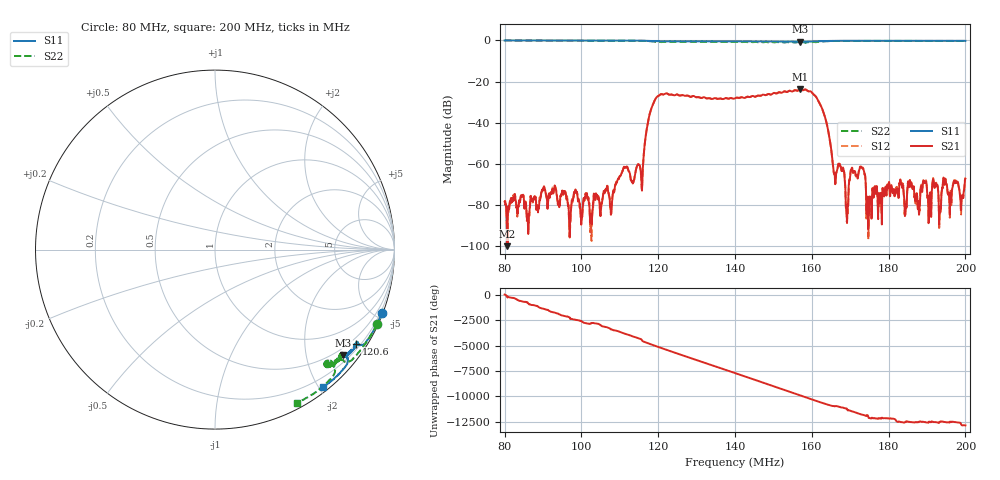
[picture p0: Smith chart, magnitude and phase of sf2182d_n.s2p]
!SF2182D
# HZ S RI R 50
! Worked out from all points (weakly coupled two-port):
!   1601 points, 80 MHz to 200 MHz, reference 50 ohm
!   highest |S21| = -23.80 dB at 157 MHz (marker M1); lowest = -99.9 dB at 80.75 MHz (marker M2)
!   lowest |S11| = -0.7 dB at 156.9 MHz (marker M3), VSWR 25.77, Z = 16.9 - j138 ohm
!   |S11| at or under -10 dB: nowhere
!   |S22| runs from -1.2 to 0.0 dB; largest |S21 - S12| = 0.0014
!   S11 on the Smith chart (normalised r, x): 80 MHz: 0.09, -5.42; 120.6 MHz: 0.33, -3.28; 200 MHz: 0.07, -2.05
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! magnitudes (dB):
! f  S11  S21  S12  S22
! 80 MHz  -0.1  -78.3  -78.4  -0.1
! 80.75 MHz  -0.1  -99.9  -99.5  0.0
! 92.9 MHz  -0.1  -71.9  -71.5  -0.1
! 100 MHz  -0.1  -88.3  -87.0  -0.1
! 115.5 MHz  -0.1  -65.7  -66.1  -0.2
! 117.7 MHz  -0.3  -36.8  -36.8  -0.4
! 120 MHz  -0.4  -27.0  -27.0  -0.7
! 120.6 MHz  -0.5  -26.2  -26.2  -0.8
! 140 MHz  -0.5  -28.1  -28.1  -0.7
! 156.9 MHz  -0.7  -23.8  -23.8  -1.1
! 157 MHz  -0.7  -23.8  -23.8  -1.1
! 160 MHz  -0.5  -25.3  -25.3  -1.0
! 163 MHz  -0.3  -34.9  -34.9  -0.5
! 165.9 MHz  -0.2  -64.6  -64.4  -0.3
! 169.1 MHz  -0.2  -84.8  -87.9  -0.3
! 172.9 MHz  -0.2  -61.5  -61.6  -0.3
! 174.8 MHz  -0.2  -84.4  -87.7  -0.3
! 180.1 MHz  -0.2  -69.5  -69.1  -0.2
! 187.6 MHz  -0.2  -80.8  -80.0  -0.2
! 189.3 MHz  -0.2  -69.0  -69.3  -0.2
! 190.6 MHz  -0.2  -77.3  -76.1  -0.3
! 200 MHz  -0.2  -67.1  -66.7  -0.3
